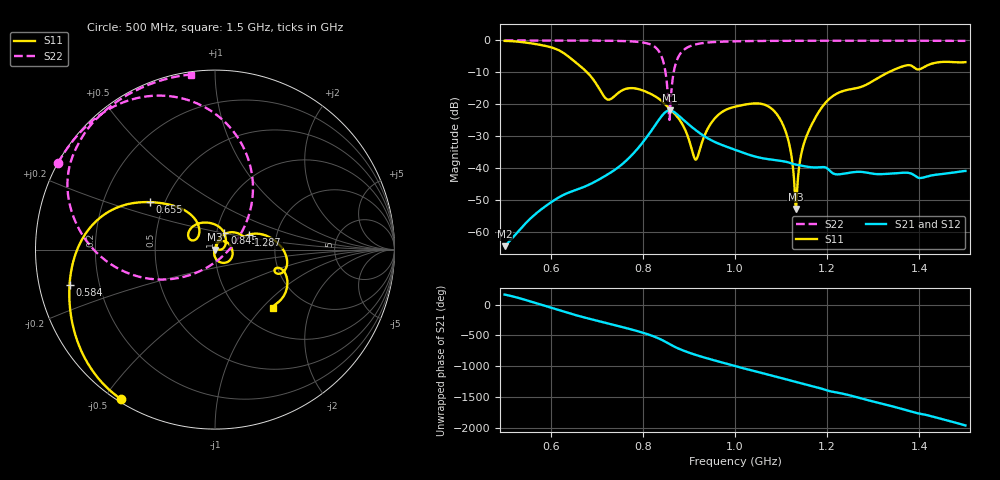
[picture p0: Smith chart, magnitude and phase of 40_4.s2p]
! TOUCHSTONE file generated by CST MICROWAVE STUDIO
! Date and time: Wed Oct 28 19:21:00 2020
! Project name: Scenario_1_Circular_Tissue_out_of_Line.cst
! Parameters = {dy1=330.299; L_HA=400; MT=2.54; Rad_Dielectric=30; Rad_Lower=7.3; Rad_Upper=30; a_HA=580; a_WG=246; b_HA=500; b_WG=121; c_HA=0; c_WG=187; d_feed=85; dx1=693; h_feed=15; h_lower=18; h_upper=40}
! Header version: 2018
! Port assignment regex: !\s*Touchstone port\s*([0-9]+)\s*=\s*(CST MWS port|CST DS port)\s*([0-9]+|Zmin|Zmax)\s*\(\"(.*)\"\)(\s*mode\s*([0-9]+))?.*
! Touchstone port assignment:
! Touchstone port 1 = CST MWS port 1 ("")
! Touchstone port 2 = CST MWS port 2 ("")
# GHz S DB R 50
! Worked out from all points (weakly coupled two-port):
!   1001 points, 500 MHz to 1.5 GHz, reference 50 ohm
!   highest |S21| = -21.95 dB at 858 MHz (marker M1); lowest = -64.5 dB at 500 MHz (marker M2)
!   lowest |S11| = -52.8 dB at 1.132 GHz (marker M3), VSWR 1.00, Z = 49.8 + j0.0344 ohm
!   |S11| at or under -10 dB: 679 MHz to 1.333 GHz (653.9 MHz wide, 65 % of centre)
!   |S22| runs from -24.9 to 0.0 dB; largest |S21 - S12| = 0.00023
!   S11 on the Smith chart (normalised r, x): 500 MHz: 0.01, -0.55; 584 MHz: 0.09, -0.12; 655 MHz: 0.41, +0.27; 845 MHz: 1.09, +0.20; 1.287 GHz: 1.44, +0.25; 1.5 GHz: 1.40, -1.15
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0.5  -0.14 -122.3  -64.49 161.1  -64.49 161.1  -0.01 151.1
0.584  -1.58 -166.5  -52.47 -15.0  -52.47 -15.0  -0.02 145.3
0.655  -6.96 143.9  -46.84 -173.1  -46.84 -173.1  -0.04 139.5
0.667  -8.40 137.7  -46.21 162.7  -46.21 162.7  -0.04 138.4
0.723  -18.49 141.3  -42.06 55.7  -42.06 55.7  -0.09 131.9
0.792  -15.32 121.6  -33.35 -77.5  -33.35 -77.5  -0.49 116.3
0.834  -18.20 74.6  -25.07 173.2  -25.07 173.2  -3.21 83.5
0.845  -19.55 60.5  -23.02 133.9  -23.02 133.9  -7.00 62.1
0.858  -21.39 45.1  -21.95 80.8  -21.95 80.8  -24.93 -59.7
0.876  -24.16 22.9  -23.36 12.8  -23.36 12.8  -5.47 -167.5
0.915  -37.38 35.6  -28.14 -94.7  -28.14 -94.7  -1.23 160.3
0.952  -25.16 55.2  -31.54 -175.7  -31.54 -175.7  -0.52 148.6
1  -20.78 8.3  -34.28 86.1  -34.28 86.1  -0.28 140.3
1.092  -23.35 -73.7  -37.60 -91.8  -37.60 -91.8  -0.13 130.4
1.116  -31.50 -99.4  -38.23 -139.3  -38.23 -139.1  -0.12 128.4
1.132  -52.81 171.3  -38.92 -172.1  -38.88 -172.0  -0.11 127.0
1.147  -33.63 76.0  -39.35 158.5  -39.32 158.8  -0.10 125.8
1.167  -26.25 70.7  -39.77 121.3  -39.75 121.5  -0.10 124.2
1.212  -17.47 46.4  -41.62 30.5  -41.46 30.7  -0.09 120.7
1.287  -13.73 23.6  -41.47 -103.3  -41.47 -103.3  -0.09 115.1
1.334  -9.93 11.7  -41.79 169.3  -41.79 169.3  -0.08 111.5
1.5  -6.81 -45.1  -40.92 -154.0  -40.93 -154.0  -0.13 97.9
